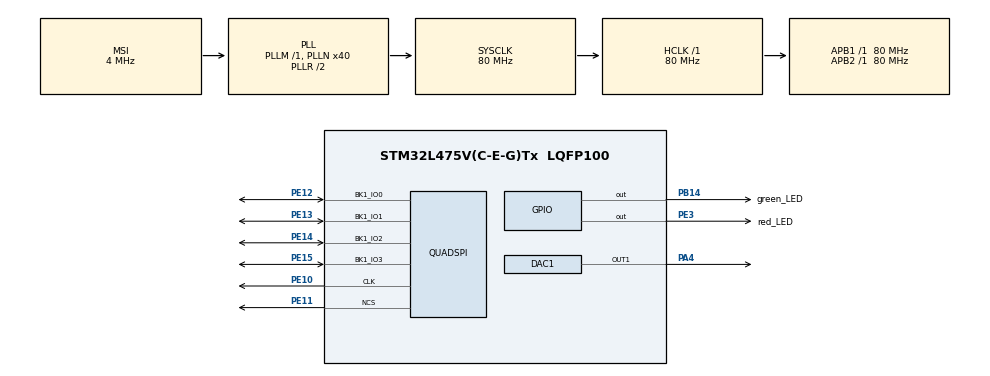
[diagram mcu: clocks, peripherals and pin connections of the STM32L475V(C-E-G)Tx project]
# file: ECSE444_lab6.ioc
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DAC1.DAC_Trigger-DAC_OUT1=DAC_TRIGGER_T2_TRGO
Dma.DAC_CH1.0.Direction=DMA_MEMORY_TO_PERIPH
Dma.DAC_CH1.0.Instance=DMA1_Channel3
Dma.DAC_CH1.0.MemDataAlignment=DMA_MDATAALIGN_BYTE
Dma.DAC_CH1.0.MemInc=DMA_MINC_ENABLE
Dma.DAC_CH1.0.Mode=DMA_CIRCULAR
Dma.DAC_CH1.0.PeriphDataAlignment=DMA_PDATAALIGN_HALFWORD
Dma.DAC_CH1.0.PeriphInc=DMA_PINC_DISABLE
Dma.DAC_CH1.0.Priority=DMA_PRIORITY_LOW
Dma.Request0=DAC_CH1
Mcu.Family=STM32L4
Mcu.Name=STM32L475V(C-E-G)Tx
Mcu.Package=LQFP100
NVIC.DMA1_Channel3_IRQn=true\:0\:0\:false\:false\:true\:false\:true\:true
NVIC.PriorityGroup=NVIC_PRIORITYGROUP_4
NVIC.TIM1_TRG_COM_TIM17_IRQn=true\:15\:0\:false\:false\:true\:false\:true\:true
NVIC.TIM2_IRQn=true\:0\:0\:false\:false\:true\:true\:true\:true
NVIC.TimeBase=TIM1_TRG_COM_TIM17_IRQn
NVIC.TimeBaseIP=TIM17
PA4.Signal=COMP_DAC11_group
PB14.GPIO_Label=green_LED
PB14.Signal=GPIO_Output
PE10.Mode=Single Bank
PE10.Signal=QUADSPI_CLK
PE11.Mode=Single Bank
PE11.Signal=QUADSPI_NCS
PE12.Mode=Single Bank
PE12.Signal=QUADSPI_BK1_IO0
PE13.Mode=Single Bank
PE13.Signal=QUADSPI_BK1_IO1
PE14.Mode=Single Bank
PE14.Signal=QUADSPI_BK1_IO2
PE15.Mode=Single Bank
PE15.Signal=QUADSPI_BK1_IO3
PE3.GPIO_Label=red_LED
PE3.Signal=GPIO_Output
ProjectManager.HeapSize=0x200
ProjectManager.StackSize=0x400
ProjectManager.TargetToolchain=STM32CubeIDE
RCC.ADCFreq_Value=48000000
RCC.AHBFreq_Value=80000000
RCC.APB1Freq_Value=80000000
RCC.APB1TimFreq_Value=80000000
RCC.APB2Freq_Value=80000000
RCC.APB2TimFreq_Value=80000000
RCC.CortexFreq_Value=80000000
RCC.HCLKFreq_Value=80000000
RCC.HSE_VALUE=8000000
RCC.HSI_VALUE=16000000
RCC.LSE_VALUE=32768
RCC.MSI_VALUE=4000000
RCC.PLLN=40
RCC.PLLSAI1N=24
RCC.SYSCLKFreq_VALUE=80000000
RCC.SYSCLKSource=RCC_SYSCLKSOURCE_PLLCLK
RCC.USBFreq_Value=48000000
RCC.VCOOutputFreq_Value=160000000
SH.COMP_DAC11_group.0=DAC1_OUT1,DAC_OUT1
TIM2.Period=1814
TIM2.TIM_MasterOutputTrigger=TIM_TRGO_UPDATE
VP_SYS_VS_tim17.Mode=TIM17
VP_TIM2_VS_ClockSourceINT.Mode=Internal
board=B-L475E-IOT01A1

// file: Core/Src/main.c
/* USER CODE BEGIN Header */
/**
  ******************************************************************************
  * @file           : main.c
  * @brief          : Main program body
  ******************************************************************************
  * @attention
  *
  * <h2><center>&copy; Copyright (c) 2021 STMicroelectronics.
  * All rights reserved.</center></h2>
  *
  * This software component is licensed by ST under BSD 3-Clause license,
  * the "License"; You may not use this file except in compliance with the
  * License. You may obtain a copy of the License at:
  *                        opensource.org/licenses/BSD-3-Clause
  *
  ******************************************************************************
  */
/* USER CODE END Header */
#include "main.h"

/* USER CODE BEGIN Includes */
#define ARM_MATH_CM4
#include "arm_math.h"
#include "stm32l475e_iot01_qspi.h"

#define arraysize 33075

int toneIdx = 0;
/* USER CODE END Includes */

DAC_HandleTypeDef hdac1;
DMA_HandleTypeDef hdma_dac_ch1;

QSPI_HandleTypeDef hqspi;

TIM_HandleTypeDef htim2;

void SystemClock_Config(void);
static void MX_GPIO_Init(void);
static void MX_DMA_Init(void);
static void MX_DAC1_Init(void);
static void MX_TIM2_Init(void);
static void MX_QUADSPI_Init(void);

/* USER CODE BEGIN 0 */
uint8_t tone[arraysize];
uint8_t testTone[arraysize];

/* USER CODE END 0 */

int main(void)
{

  /* MCU Configuration--------------------------------------------------------*/

  /* Reset of all peripherals, Initializes the Flash interface and the Systick. */
  HAL_Init();

  /* Configure the system clock */
  SystemClock_Config();

  /* Initialize all configured peripherals */
  MX_GPIO_Init();
  MX_DMA_Init();
  MX_DAC1_Init();
  MX_TIM2_Init();
  MX_QUADSPI_Init();
  /* USER CODE BEGIN 2 */
  HAL_TIM_Base_Start_IT(&htim2);

  BSP_QSPI_Init();

  float j = 0;

  for(int k=0; k<5; k++){

    for(int i=0; i<arraysize; i++){
                	tone[i] = arm_sin_f32(j)*200+200;
               	j+=0.00628+0.00628*k;

                }
    	  j=0;
    	 BSP_QSPI_Erase_Block(0x10000*(k+1));
        BSP_QSPI_Write(tone, 0x10000*(k+1), arraysize);
  }

	if(BSP_QSPI_Read(testTone, 0x10000*(1), arraysize) != QSPI_OK){
		Error_Handler();        }

	HAL_DAC_Start_DMA(&hdac1, DAC_CHANNEL_1, (uint32_t*)testTone, arraysize, DAC_ALIGN_8B_R);

  /* USER CODE END 2 */

  /* Infinite loop */
  while (1)
  {

  }
}

void HAL_DAC_ConvCpltCallbackCh1 (DAC_HandleTypeDef * hdac){
	  	  HAL_GPIO_TogglePin(red_LED_GPIO_Port, red_LED_Pin);

	      if(BSP_QSPI_Read(testTone, 0x10000*(toneIdx+1), arraysize) != QSPI_OK){
	      	Error_Handler();
	      }
	      HAL_DAC_Stop_DMA(&hdac1, DAC_CHANNEL_1);
	      HAL_DAC_Start_DMA(&hdac1, DAC_CHANNEL_1, (uint32_t*)testTone, arraysize, DAC_ALIGN_8B_R);
	      toneIdx++;
	      if (toneIdx > 5) {
	    	  toneIdx = 0;
	      }
}
void SystemClock_Config(void)
{
  RCC_OscInitTypeDef RCC_OscInitStruct = {0};
  RCC_ClkInitTypeDef RCC_ClkInitStruct = {0};

  /** Configure the main internal regulator output voltage
  */
  if (HAL_PWREx_ControlVoltageScaling(PWR_REGULATOR_VOLTAGE_SCALE1) != HAL_OK)
  {
    Error_Handler();
  }
  /** Initializes the RCC Oscillators according to the specified parameters
  * in the RCC_OscInitTypeDef structure.
  */
  RCC_OscInitStruct.OscillatorType = RCC_OSCILLATORTYPE_MSI;
  RCC_OscInitStruct.MSIState = RCC_MSI_ON;
  RCC_OscInitStruct.MSICalibrationValue = 0;
  RCC_OscInitStruct.MSIClockRange = RCC_MSIRANGE_6;
  RCC_OscInitStruct.PLL.PLLState = RCC_PLL_ON;
  RCC_OscInitStruct.PLL.PLLSource = RCC_PLLSOURCE_MSI;
  RCC_OscInitStruct.PLL.PLLM = 1;
  RCC_OscInitStruct.PLL.PLLN = 40;
  RCC_OscInitStruct.PLL.PLLP = RCC_PLLP_DIV7;
  RCC_OscInitStruct.PLL.PLLQ = RCC_PLLQ_DIV2;
  RCC_OscInitStruct.PLL.PLLR = RCC_PLLR_DIV2;
  if (HAL_RCC_OscConfig(&RCC_OscInitStruct) != HAL_OK)
  {
    Error_Handler();
  }
  /** Initializes the CPU, AHB and APB buses clocks
  */
  RCC_ClkInitStruct.ClockType = RCC_CLOCKTYPE_HCLK|RCC_CLOCKTYPE_SYSCLK
                              |RCC_CLOCKTYPE_PCLK1|RCC_CLOCKTYPE_PCLK2;
  RCC_ClkInitStruct.SYSCLKSource = RCC_SYSCLKSOURCE_PLLCLK;
  RCC_ClkInitStruct.AHBCLKDivider = RCC_SYSCLK_DIV1;
  RCC_ClkInitStruct.APB1CLKDivider = RCC_HCLK_DIV1;
  RCC_ClkInitStruct.APB2CLKDivider = RCC_HCLK_DIV1;

  if (HAL_RCC_ClockConfig(&RCC_ClkInitStruct, FLASH_LATENCY_4) != HAL_OK)
  {
    Error_Handler();
  }
}

static void MX_DAC1_Init(void)
{

  DAC_ChannelConfTypeDef sConfig = {0};

  /** DAC Initialization
  */
  hdac1.Instance = DAC1;
  if (HAL_DAC_Init(&hdac1) != HAL_OK)
  {
    Error_Handler();
  }
  /** DAC channel OUT1 config
  */
  sConfig.DAC_SampleAndHold = DAC_SAMPLEANDHOLD_DISABLE;
  sConfig.DAC_Trigger = DAC_TRIGGER_T2_TRGO;
  sConfig.DAC_OutputBuffer = DAC_OUTPUTBUFFER_ENABLE;
  sConfig.DAC_ConnectOnChipPeripheral = DAC_CHIPCONNECT_DISABLE;
  sConfig.DAC_UserTrimming = DAC_TRIMMING_FACTORY;
  if (HAL_DAC_ConfigChannel(&hdac1, &sConfig, DAC_CHANNEL_1) != HAL_OK)
  {
    Error_Handler();
  }

}

static void MX_QUADSPI_Init(void)
{

  /* QUADSPI parameter configuration*/
  hqspi.Instance = QUADSPI;
  hqspi.Init.ClockPrescaler = 255;
  hqspi.Init.FifoThreshold = 1;
  hqspi.Init.SampleShifting = QSPI_SAMPLE_SHIFTING_NONE;
  hqspi.Init.FlashSize = 1;
  hqspi.Init.ChipSelectHighTime = QSPI_CS_HIGH_TIME_1_CYCLE;
  hqspi.Init.ClockMode = QSPI_CLOCK_MODE_0;
  if (HAL_QSPI_Init(&hqspi) != HAL_OK)
  {
    Error_Handler();
  }

}

static void MX_TIM2_Init(void)
{

  TIM_ClockConfigTypeDef sClockSourceConfig = {0};
  TIM_MasterConfigTypeDef sMasterConfig = {0};

  htim2.Instance = TIM2;
  htim2.Init.Prescaler = 0;
  htim2.Init.CounterMode = TIM_COUNTERMODE_UP;
  htim2.Init.Period = 1814;
  htim2.Init.ClockDivision = TIM_CLOCKDIVISION_DIV1;
  htim2.Init.AutoReloadPreload = TIM_AUTORELOAD_PRELOAD_DISABLE;
  if (HAL_TIM_Base_Init(&htim2) != HAL_OK)
  {
    Error_Handler();
  }
  sClockSourceConfig.ClockSource = TIM_CLOCKSOURCE_INTERNAL;
  if (HAL_TIM_ConfigClockSource(&htim2, &sClockSourceConfig) != HAL_OK)
  {
    Error_Handler();
  }
  sMasterConfig.MasterOutputTrigger = TIM_TRGO_UPDATE;
  sMasterConfig.MasterSlaveMode = TIM_MASTERSLAVEMODE_DISABLE;
  if (HAL_TIMEx_MasterConfigSynchronization(&htim2, &sMasterConfig) != HAL_OK)
  {
    Error_Handler();
  }

}

static void MX_DMA_Init(void)
{

  /* DMA controller clock enable */
  __HAL_RCC_DMA1_CLK_ENABLE();

  /* DMA interrupt init */
  /* DMA1_Channel3_IRQn interrupt configuration */
  HAL_NVIC_SetPriority(DMA1_Channel3_IRQn, 0, 0);
  HAL_NVIC_EnableIRQ(DMA1_Channel3_IRQn);

}

static void MX_GPIO_Init(void)
{
  GPIO_InitTypeDef GPIO_InitStruct = {0};

  /* GPIO Ports Clock Enable */
  __HAL_RCC_GPIOE_CLK_ENABLE();
  __HAL_RCC_GPIOA_CLK_ENABLE();
  __HAL_RCC_GPIOB_CLK_ENABLE();

  /*Configure GPIO pin Output Level */
  HAL_GPIO_WritePin(red_LED_GPIO_Port, red_LED_Pin, GPIO_PIN_RESET);

  /*Configure GPIO pin Output Level */
  HAL_GPIO_WritePin(green_LED_GPIO_Port, green_LED_Pin, GPIO_PIN_RESET);

  /*Configure GPIO pin : red_LED_Pin */
  GPIO_InitStruct.Pin = red_LED_Pin;
  GPIO_InitStruct.Mode = GPIO_MODE_OUTPUT_PP;
  GPIO_InitStruct.Pull = GPIO_NOPULL;
  GPIO_InitStruct.Speed = GPIO_SPEED_FREQ_LOW;
  HAL_GPIO_Init(red_LED_GPIO_Port, &GPIO_InitStruct);

  /*Configure GPIO pin : green_LED_Pin */
  GPIO_InitStruct.Pin = green_LED_Pin;
  GPIO_InitStruct.Mode = GPIO_MODE_OUTPUT_PP;
  GPIO_InitStruct.Pull = GPIO_NOPULL;
  GPIO_InitStruct.Speed = GPIO_SPEED_FREQ_LOW;
  HAL_GPIO_Init(green_LED_GPIO_Port, &GPIO_InitStruct);

}

void HAL_TIM_PeriodElapsedCallback(TIM_HandleTypeDef *htim)
{
  if (htim->Instance == TIM17) {
    HAL_IncTick();
  }
}

void Error_Handler(void)
{
  /* USER CODE BEGIN Error_Handler_Debug */
  /* User can add his own implementation to report the HAL error return state */
  __disable_irq();
  HAL_GPIO_WritePin(red_LED_GPIO_Port, red_LED_Pin, GPIO_PIN_RESET);
  __BKPT();
  while (1)

  {
  }
  /* USER CODE END Error_Handler_Debug */
}

/************************ (C) COPYRIGHT STMicroelectronics *****END OF FILE****/
